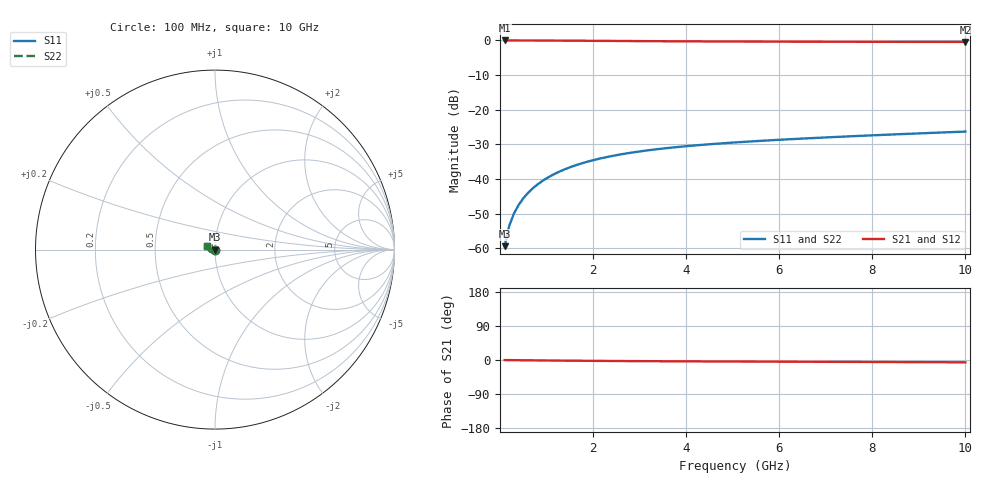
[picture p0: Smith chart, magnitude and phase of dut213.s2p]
! Touchstone file exported from HFSS 2024.1.0
!  File:  C:/UserFiles/LocalFiles/RDL_TSV_Batchsim/temp_TSV1_213_1779386969.aedt
!  Generated:  02:16:02 AM May 22, 2026
!  Design:  TSV1
!  Project:  temp_TSV1_213_1779386969
!  Setup:  Setup1
!  Solution:  Sweep
! Variables:
!  dtsv = 8.47um
!  hbump = 3um
!  htsv = 91.32um
!  lrdl = 252.1521522um
!  p = 40
!  p1 = 59.34um
!  t = 500um
!  trdl = 3um
!  wrdl = 24.89489489um
# GHz S MA R 50.000000
! Terminal data exported
! Port[1] = TSV22_T1
! Port[2] = TSV22_T2
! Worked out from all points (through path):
!   100 points, 100 MHz to 10 GHz, reference 50 ohm
!   highest |S21| = 0.00 dB at 100 MHz (marker M1); lowest = -0.4 dB at 10 GHz (marker M2)
!   lowest |S11| = -59.4 dB at 100 MHz (marker M3), VSWR 1.00, Z = 50 - j0.105 ohm
!   |S11| at or under -10 dB: start of sweep to end of sweep
!   |S22| runs from -59.4 to -26.3 dB; largest |S21 - S12| = 4.9e-15
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0.1  0.001068 -80.5  0.9997 -0.1  0.9997 -0.1  0.001068 -80.5
! Gamma 0 0 0 0
! Port Impedance 50 0 50 0
0.2  0.002108 -88.3  0.9996 -0.3  0.9996 -0.3  0.002108 -88.3
0.3  0.003154 -92.5  0.9994 -0.4  0.9994 -0.4  0.003154 -92.5
0.4  0.004195 -95.7  0.9991 -0.5  0.9991 -0.5  0.004195 -95.7
0.5  0.005228 -98.5  0.9987 -0.7  0.9987 -0.7  0.005228 -98.5
0.6  0.006249 -101.1  0.9983 -0.8  0.9983 -0.8  0.006249 -101.1
0.7  0.007258 -103.5  0.9978 -0.9  0.9978 -0.9  0.007258 -103.5
0.8  0.008252 -105.9  0.9972 -1.0  0.9972 -1.0  0.008252 -105.9
0.9  0.009229 -108.2  0.9966 -1.2  0.9966 -1.2  0.009229 -108.2
1.1  0.01113 -112.6  0.9952 -1.4  0.9952 -1.4  0.01113 -112.6
1.4  0.01383 -118.9  0.9928 -1.7  0.9928 -1.7  0.01383 -118.9
1.6  0.01551 -122.9  0.991 -1.9  0.991 -1.9  0.01551 -122.9
1.8  0.01711 -126.8  0.9892 -2.1  0.9892 -2.1  0.01711 -126.8
2.1  0.01934 -132.3  0.9864 -2.4  0.9864 -2.4  0.01934 -132.3
2.5  0.02202 -139.1  0.9827 -2.7  0.9827 -2.7  0.02202 -139.1
2.9  0.02438 -145.4  0.9793 -2.9  0.9793 -2.9  0.02438 -145.4
3.4  0.02698 -152.6  0.9753 -3.2  0.9753 -3.2  0.02698 -152.6
4.2  0.03049 -162.7  0.9699 -3.6  0.9699 -3.6  0.03049 -162.7
5.1  0.0338 -172.5  0.9651 -4.0  0.9651 -4.0  0.0338 -172.5
6.7  0.03884 173.4  0.9592 -4.7  0.9592 -4.7  0.03884 173.4
8.4  0.04374 161.6  0.9551 -5.4  0.9551 -5.4  0.04374 161.6
10  0.04827 152.5  0.9524 -6.0  0.9524 -6.0  0.04827 152.5
